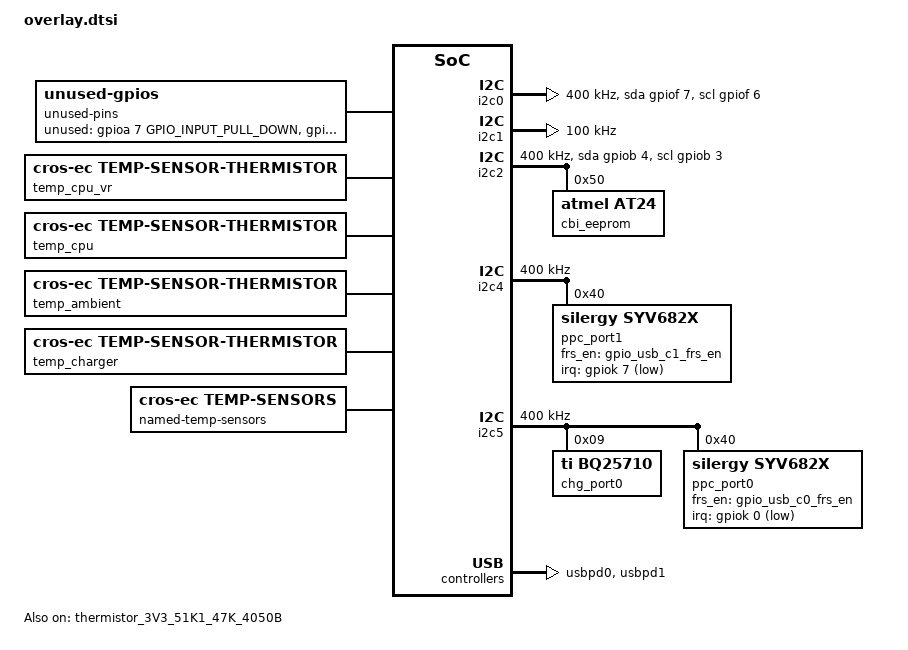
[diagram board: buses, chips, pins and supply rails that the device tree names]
/* Copyright 2024 The ChromiumOS Authors
 * Use of this source code is governed by a BSD-style license that can be
 * found in the LICENSE file.
 */

#include <cros/thermistor/thermistor.dtsi>
#include <dt-bindings/usb_pd_tcpm.h>
#include <dt-bindings/usbc_mux.h>

/ {
	aliases {
		gpio-cbi-wp = &gpio_ec_cbi_wp;
		gpio-wp = &gpio_ec_wp_odl;
	};

	ec-console {
		compatible = "ec-console";
		disabled = "events", "lpc", "hostcmd";
	};

	batteries {
		default_battery: dynapack_b140435 {
			compatible = "dynapack,b140435","battery-smart";
		};
		smp_c31n2313 {
			compatible = "smp,c31n2313","battery-smart";
		};
		celxpert_b340442 {
			compatible = "celxpert,b340442","battery-smart";
		};
	};

	hibernate-wake-pins {
		compatible = "cros-ec,hibernate-wake-pins";
		wakeup-irqs = <
			&int_power_button
			&int_lid_open
		>;
	};

	gpio-interrupts {
		compatible = "cros-ec,gpio-interrupts";

		int_power_button: power_button {
			irq-pin = <&gpio_gsc_ec_pwr_btn_odl>;
			flags = <GPIO_INT_EDGE_BOTH>;
			handler = "power_button_interrupt";
		};
		int_vol_down: vol_down {
			irq-pin = <&gpio_voldn_btn_odl>;
			flags = <GPIO_INT_EDGE_BOTH>;
			handler = "button_interrupt";
		};
		int_vol_up: vol_up {
			irq-pin = <&gpio_volup_btn_odl>;
			flags = <GPIO_INT_EDGE_BOTH>;
			handler = "button_interrupt";
		};
		int_lid_open: lid_open {
			irq-pin = <&gpio_lid_open>;
			flags = <GPIO_INT_EDGE_BOTH>;
			handler = "lid_interrupt";
		};
		int_ac_present: ac_present {
			irq-pin = <&gpio_ec_acok_od>;
			flags = <GPIO_INT_EDGE_BOTH>;
			handler = "extpower_interrupt";
		};
		int_als_status: als_status {
			irq-pin = <&ec_als_odl>;
			flags = <GPIO_INT_EDGE_FALLING>;
			handler = "door_open_interrupt";
		};
		int_jack_detect: jack_detect {
			irq-pin = <&gpio_jack_detect_l>;
			flags = <GPIO_INT_EDGE_BOTH>;
			handler = "audio_jack_interrupt";
		};
		int_blpwr_pgd: blpwr_pgd {
			irq-pin = <&gpio_blpwr_pgd>;
			flags = <GPIO_INT_EDGE_FALLING>;
			handler = "bl_pg_interrupt";
		};
	};

	unused-pins {
		compatible = "unused-gpios";

		unused-gpios = <&gpioa 7 GPIO_INPUT_PULL_DOWN>,
			       <&gpioc 0 GPIO_INPUT_PULL_DOWN>,
			       <&gpiod 4 GPIO_INPUT_PULL_DOWN>,
			       <&gpiob 5 GPIO_INPUT_PULL_DOWN>,
			       <&gpioj 0 GPIO_INPUT_PULL_DOWN>,
			       <&gpioj 1 GPIO_INPUT_PULL_DOWN>;
	};

	temp_cpu_vr: cpu_vr {
		compatible = "cros-ec,temp-sensor-thermistor";
		thermistor = <&thermistor_3V3_51K1_47K_4050B>;
		adc = <&adc_temp_sensor_1>;
	};
	temp_cpu: cpu {
		compatible = "cros-ec,temp-sensor-thermistor";
		thermistor = <&thermistor_3V3_51K1_47K_4050B>;
		adc = <&adc_temp_sensor_2>;
	};
	temp_ambient: ambient {
		compatible = "cros-ec,temp-sensor-thermistor";
		thermistor = <&thermistor_3V3_51K1_47K_4050B>;
		adc = <&adc_temp_sensor_3>;
	};
	temp_charger: charger {
		compatible = "cros-ec,temp-sensor-thermistor";
		thermistor = <&thermistor_3V3_51K1_47K_4050B>;
		adc = <&adc_temp_sensor_4>;
	};

	named-temp-sensors {
		compatible = "cros-ec,temp-sensors";
		temp_sensor_vr: cpu_vr {
			temp_host_high = <88>;
			temp_host_halt = <91>;
			temp_host_release_high = <85>;
			power-good-pin = <&gpio_ec_soc_dsw_pwrok>;
			sensor = <&temp_cpu_vr>;
		};
		temp_sensor_cpu: cpu {
			temp_host_high = <79>;
			temp_host_halt = <82>;
			temp_host_release_high = <76>;
			power-good-pin = <&gpio_ec_soc_dsw_pwrok>;
			sensor = <&temp_cpu>;
		};
		temp_sensor_ambient: ambient {
			temp_host_high = <75>;
			temp_host_halt = <78>;
			temp_host_release_high = <72>;
			power-good-pin = <&gpio_ec_soc_dsw_pwrok>;
			sensor = <&temp_ambient>;
		};
		temp_sensor_charger: charger {
			temp_host_high = <85>;
			temp_host_halt = <88>;
			temp_host_release_high = <82>;
			power-good-pin = <&gpio_ec_soc_dsw_pwrok>;
			sensor = <&temp_charger>;
		};
	};

	usba {
		compatible = "cros-ec,usba-port-enable-pins";
		status = "okay";
		enable-pins = <&gpio_en_usb_a0_vbus>;
	};

	usbc {
		#address-cells = <1>;
		#size-cells = <0>;

		port0@0 {
			compatible = "named-usbc-port";
			reg = <0>;
			chg = <&chg_port0>;
			tcpc = <&usbpd0>;
			ppc = <&ppc_port0>;
			usb-mux-chain-0 {
				compatible = "cros-ec,usb-mux-chain";
				usb-muxes = <&virtual_mux_0>;
			};
		};
		port0-muxes {
			virtual_mux_0: virtual-mux-0 {
				compatible = "cros-ec,usbc-mux-virtual";
			};
		};
		port1@1 {
			compatible = "named-usbc-port";
			reg = <1>;
			tcpc = <&usbpd1>;
			ppc = <&ppc_port1>;
			usb-mux-chain-1 {
				compatible = "cros-ec,usb-mux-chain";
				usb-muxes = <&virtual_mux_1>;
			};
			usb_mux_chain_1_no_mux: usb-mux-chain-1-no-mux {
				compatible = "cros-ec,usb-mux-chain";
				alternative-chain;
				usb-muxes = <&virtual_mux_1>;
			};
		};
		port1-muxes {
			virtual_mux_1: virtual-mux-1 {
				compatible = "cros-ec,usbc-mux-virtual";
			};
		};
	};
};

&gpio_vccin_aux_vid0 {
	gpios = <&gpiod 0 (GPIO_INPUT | GPIO_VOLTAGE_1P8)>;
};
&gpio_vccin_aux_vid1 {
	gpios = <&gpiok 1 (GPIO_INPUT | GPIO_VOLTAGE_1P8)>;
};
&gpio_jack_detect_l {
	gpios = <&gpioh 6 (GPIO_INPUT | GPIO_VOLTAGE_1P8)>;
};

&gpio_ec_prochot_odl {
	gpios = <&gpioi 1 (GPIO_ODR_HIGH | GPIO_VOLTAGE_1P8)>;
};

&thermistor_3V3_51K1_47K_4050B {
	status = "okay";
};

&adc_ec_vsense_pp3300_s5 {
	/*
	 * Voltage divider on input has 47k upper and 220k lower legs with 3 V
	 * full-scale reading on the ADC. Apply the largest possible multiplier
	 * (without overflowing int32) to get the best possible approximation
	 * of the actual ratio, but derate by a factor of two to ensure
	 * unexpectedly high values won't overflow.
	 */
	mul = <(715828 / 2)>;
	div = <(589820 / 2)>;
};

&adc0 {
	pinctrl-0 = <&adc0_ch0_gpi0_default
		     &adc0_ch2_gpi2_default
		     &adc0_ch3_gpi3_default
		     &adc0_ch13_gpl0_default
		     &adc0_ch14_gpl1_default
		     &adc0_ch15_gpl2_default>;
	pinctrl-names = "default";
};

&pinctrl {
	i2c2_clk_gpf6_default: i2c2_clk_gpf6_default {
		gpio-voltage = "1v8";
	};
	i2c2_data_gpf7_default: i2c2_data_gpf7_default {
		gpio-voltage = "1v8";
	};
	i2c4_clk_gpe0_default: i2c4_clk_gpe0_default {
		gpio-voltage = "1v8";
	};
	i2c4_data_gpe7_default: i2c4_data_gpe7_default {
		gpio-voltage = "1v8";
	};
};

&i2c0 {
	label = "I2C_SENSOR";
	clock-frequency = <I2C_BITRATE_FAST>;
	pinctrl-0 = <&i2c2_clk_gpf6_default
		     &i2c2_data_gpf7_default>;
	pinctrl-names = "default";
	scl-gpios = <&gpiof 6 0>;
	sda-gpios = <&gpiof 7 0>;
	channel-switch-sel = <I2C_CHC_LOCATE>;
	status = "okay";
};

&i2c1 {
	label = "I2C_BATTERY";
	clock-frequency = <I2C_BITRATE_STANDARD>;
	pinctrl-0 = <&i2c1_clk_gpc1_default
		     &i2c1_data_gpc2_default>;
	pinctrl-names = "default";
};

&i2c2 {
	label = "I2C_EEPROM";
	clock-frequency = <I2C_BITRATE_FAST>;

	cbi_eeprom: eeprom@50 {
		compatible = "atmel,at24";
		reg = <0x50>;
		size = <2048>;
		pagesize = <16>;
		address-width = <8>;
		timeout = <5>;
	};
	pinctrl-0 = <&i2c0_clk_gpb3_default
		     &i2c0_data_gpb4_default>;
	pinctrl-names = "default";
	scl-gpios = <&gpiob 3 0>;
	sda-gpios = <&gpiob 4 0>;
	channel-switch-sel = <I2C_CHA_LOCATE>;
	status = "okay";
};

&i2c4 {
	label = "I2C_USB_C1";
	clock-frequency = <I2C_BITRATE_FAST>;
	pinctrl-0 = <&i2c4_clk_gpe0_default
		     &i2c4_data_gpe7_default>;
	pinctrl-names = "default";

	ppc_port1: ppc_syv@40 {
		compatible = "silergy,syv682x";
		status = "okay";
		reg = <0x40>;
		frs_en_gpio = <&gpio_usb_c1_frs_en>;
		irq-gpios = <&gpiok 7 GPIO_ACTIVE_LOW>;
	};
};

&i2c_ec_i2c_usb_c1 {
	/*
	 * Dynamic speed setting is used for AP-controlled firmware update
	 * of PS8745 TCPC/redriver: the AP lowers speed to 400 kHz in order
	 * to use more efficient window programming, then sets it back when
	 * done.
	 */
	dynamic-speed;
};

&i2c5 {
	label = "I2C_USB_C0";
	clock-frequency = <I2C_BITRATE_FAST>;
	pinctrl-0 = <&i2c5_clk_gpa4_default
		     &i2c5_data_gpa5_default>;
	pinctrl-names = "default";

	chg_port0: bq25710@9 {
		compatible = "ti,bq25710";
		status = "okay";
		reg = <0x9>;
	};

	ppc_port0: ppc_syv@40 {
		compatible = "silergy,syv682x";
		status = "okay";
		reg = <0x40>;
		frs_en_gpio = <&gpio_usb_c0_frs_en>;
		irq-gpios = <&gpiok 0 GPIO_ACTIVE_LOW>;
	};
};

&usbpd0 {
	status = "okay";
};

&usbpd1 {
	status = "okay";
};
